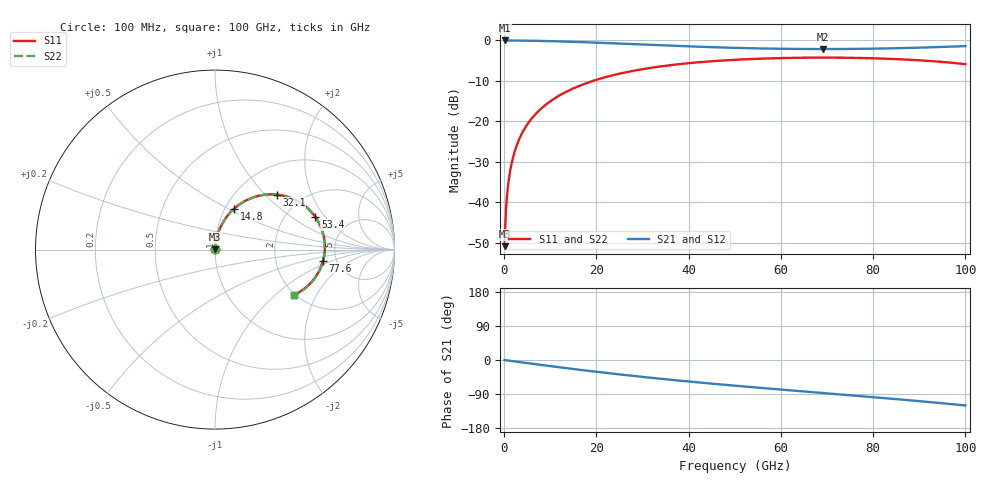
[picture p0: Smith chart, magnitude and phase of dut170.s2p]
! Touchstone file exported from HFSS 2026.1.0
!  File:  C:/ffzhzh/LocalFiles/Ansys_Project_Files/temp_train_RDL_170_1783500209_31944.aedt
!  Generated:  04:44:44 PM Jul  8, 2026
!  Design:  RDL
!  Project:  temp_train_RDL_170_1783500209_31944
! Variables:
!  h_bsmrdl = 2um
!  h_ox = 20um
!  h_rdl = 5um
!  h_sub = 80um
!  h_tmrdl = 3.83um
!  h_tsv = 80um
!  h_via = 3um
!  l_bsmrdl = 300um
!  l_sub = 805.83um
!  l_tmrdl = 405.83um
!  m_sub = 200um
!  pitch = 52.64um
!  r_tsv = 6um
!  s_tmrdl = 10um
!  w_bsmrdl = 18um
!  w_sub = 500um
!  w_tmrdl = 19.7um
!  x_tsv_center1 = 415.68um
!  x_tsv_center2 = 733.68um
!  x_tsv_center3 = 1159.21um
!  x_tsv_center4 = 1477.21um
!  x_tsv_center5 = 1902.74um
!  x_tsv_center6 = 2220.74um
# GHz S MA R 50.000000
! Terminal data exported
! Port[1] = TM_RDL1_1_T1
! Port[2] = TM_RDL1_1_T2
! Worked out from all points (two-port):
!   1000 points, 100 MHz to 100 GHz, reference 50 ohm
!   highest |S21| = -0.02 dB at 100 MHz (marker M1); lowest = -2.1 dB at 69.2 GHz (marker M2)
!   |S21| within 3 dB of the highest: start of sweep to end of sweep
!   lowest |S11| = -50.9 dB at 100 MHz (marker M3), VSWR 1.01, Z = 50.2 + j0.199 ohm
!   |S11| at or under -10 dB: start of sweep to 19.3 GHz
!   |S22| runs from -50.9 to -4.3 dB; largest |S21 - S12| = 1.5e-14
!   S11 on the Smith chart (normalised r, x): 100 MHz: 1.00, +0.00; 14.8 GHz: 1.10, +0.54; 32.1 GHz: 1.50, +1.17; 53.4 GHz: 2.87, +1.60; 77.6 GHz: 3.91, -0.76; 100 GHz: 1.98, -1.34
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0.1  0.002867 43.6  0.9979 -0.2  0.9979 -0.2  0.002867 43.6
! Gamma 0 0 0 0
! Port Impedance 50 0 50 0
0.4  0.00802 72.6  0.9976 -0.7  0.9976 -0.7  0.008018 72.6
0.8  0.01522 79.2  0.9974 -1.3  0.9974 -1.3  0.01522 79.2
1.3  0.02432 81.6  0.9971 -2.2  0.9971 -2.2  0.02432 81.6
1.8  0.03346 82.3  0.9967 -3.0  0.9967 -3.0  0.03346 82.3
2.3  0.04258 82.3  0.9962 -3.8  0.9962 -3.8  0.04259 82.3
3.6  0.06615 81.1  0.9944 -5.9  0.9944 -5.9  0.06615 81.1
5.5  0.09996 78.6  0.9907 -9.0  0.9907 -9.0  0.09996 78.5
7.9  0.1414 75.0  0.9847 -12.8  0.9847 -12.8  0.1414 75.0
11  0.1928 70.5  0.9749 -17.7  0.9749 -17.7  0.1928 70.4
14.8  0.252 64.9  0.9604 -23.5  0.9604 -23.5  0.252 64.9
16.8  0.2814 62.0  0.9519 -26.4  0.9519 -26.4  0.2814 62.0
23.7  0.3724 52.5  0.9194 -36.2  0.9194 -36.2  0.3724 52.4
32.1  0.4608 41.7  0.8784 -47.3  0.8784 -47.3  0.4608 41.6
33.4  0.4723 40.1  0.8723 -48.9  0.8723 -48.9  0.4723 40.0
50.1  0.5759 21.4  0.8084 -67.9  0.8084 -67.9  0.5759 21.2
53.4  0.5878 18.0  0.7999 -71.3  0.7999 -71.3  0.5879 17.8
66.7  0.6121 4.8  0.7819 -84.8  0.7819 -84.8  0.6121 4.6
69.2  0.6126 2.4  0.7815 -87.2  0.7815 -87.2  0.6127 2.1
77.6  0.6054 -5.8  0.7867 -95.6  0.7867 -95.6  0.6055 -6.2
83.4  0.592 -11.7  0.7964 -101.6  0.7964 -101.6  0.592 -12.0
100  0.509 -29.6  0.8494 -119.9  0.8494 -119.9  0.5091 -30.0
